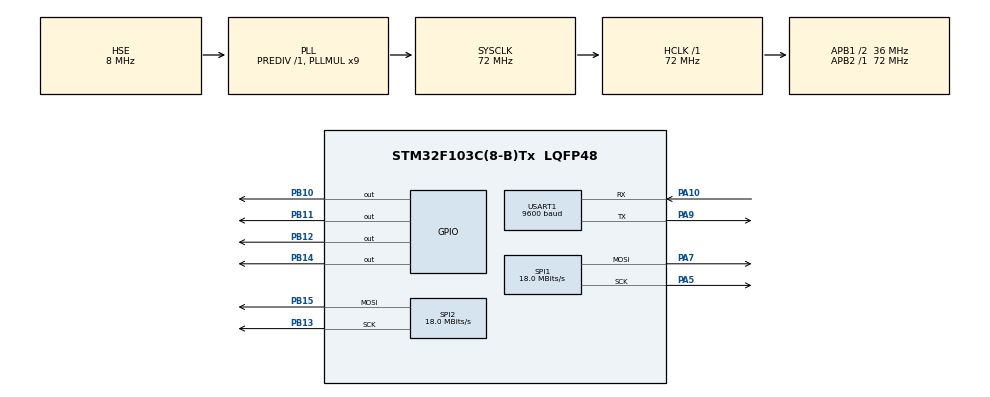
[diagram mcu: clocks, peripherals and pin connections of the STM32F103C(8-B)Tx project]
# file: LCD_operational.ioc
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Mcu.Family=STM32F1
Mcu.Name=STM32F103C(8-B)Tx
Mcu.Package=LQFP48
NVIC.PriorityGroup=NVIC_PRIORITYGROUP_4
NVIC.USART1_IRQn=true\:0\:0\:false\:false\:true\:true\:true\:true
PA10.Mode=Asynchronous
PA10.Signal=USART1_RX
PA13.Mode=Serial_Wire
PA13.Signal=SYS_JTMS-SWDIO
PA14.Mode=Serial_Wire
PA14.Signal=SYS_JTCK-SWCLK
PA5.Mode=TX_Only_Simplex_Unidirect_Master
PA5.Signal=SPI1_SCK
PA7.Mode=TX_Only_Simplex_Unidirect_Master
PA7.Signal=SPI1_MOSI
PA9.Mode=Asynchronous
PA9.Signal=USART1_TX
PB10.Signal=GPIO_Output
PB11.Signal=GPIO_Output
PB12.Signal=GPIO_Output
PB13.Mode=TX_Only_Simplex_Unidirect_Master
PB13.Signal=SPI2_SCK
PB14.Signal=GPIO_Output
PB15.Mode=TX_Only_Simplex_Unidirect_Master
PB15.Signal=SPI2_MOSI
PD0-OSC_IN.Mode=HSE-External-Oscillator
PD0-OSC_IN.Signal=RCC_OSC_IN
PD1-OSC_OUT.Mode=HSE-External-Oscillator
PD1-OSC_OUT.Signal=RCC_OSC_OUT
ProjectManager.HeapSize=0x200
ProjectManager.StackSize=0x400
ProjectManager.TargetToolchain=MDK-ARM V5.32
RCC.AHBFreq_Value=72000000
RCC.APB1CLKDivider=RCC_HCLK_DIV2
RCC.APB1Freq_Value=36000000
RCC.APB1TimFreq_Value=72000000
RCC.APB2Freq_Value=72000000
RCC.APB2TimFreq_Value=72000000
RCC.HCLKFreq_Value=72000000
RCC.PLLMUL=RCC_PLL_MUL9
RCC.PLLSourceVirtual=RCC_PLLSOURCE_HSE
RCC.SYSCLKFreq_VALUE=72000000
RCC.SYSCLKSource=RCC_SYSCLKSOURCE_PLLCLK
RCC.USBFreq_Value=72000000
SPI1.BaudRatePrescaler=SPI_BAUDRATEPRESCALER_4
SPI1.CalculateBaudRate=18.0 MBits/s
SPI1.Direction=SPI_DIRECTION_2LINES
SPI1.Mode=SPI_MODE_MASTER
SPI1.VirtualType=VM_MASTER
SPI2.CalculateBaudRate=18.0 MBits/s
SPI2.Direction=SPI_DIRECTION_2LINES
SPI2.Mode=SPI_MODE_MASTER
SPI2.VirtualType=VM_MASTER
USART1.BaudRate=9600
USART1.VirtualMode=VM_ASYNC
board=custom

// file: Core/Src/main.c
/* USER CODE BEGIN Header */
/**
  ******************************************************************************
  * @file           : main.c
  * @brief          : Main program body
  ******************************************************************************
  * @attention
  *
  * Copyright (c) 2023 STMicroelectronics.
  * All rights reserved.
  *
  * This software is licensed under terms that can be found in the LICENSE file
  * in the root directory of this software component.
  * If no LICENSE file comes with this software, it is provided AS-IS.
  *
  ******************************************************************************
  */
/* USER CODE END Header */
#include "main.h"
#include "spi.h"
#include "usart.h"
#include "gpio.h"

/* USER CODE BEGIN Includes */
#include "Lcd.h"
#include "Gui.h"
#include "menu.h"
#include "string.h"
#include "stdlib.h"
/* USER CODE END Includes */

/* USER CODE BEGIN PV */
extern const unsigned char gImage_qq[3200];
uint8_t remote[7];
/* USER CODE END PV */

void SystemClock_Config(void);

int main(void)
{

  /* MCU Configuration--------------------------------------------------------*/

  /* Reset of all peripherals, Initializes the Flash interface and the Systick. */
  HAL_Init();

  /* Configure the system clock */
  SystemClock_Config();

  /* Initialize all configured peripherals */
  MX_GPIO_Init();
  MX_SPI2_Init();
  MX_USART1_UART_Init();
  MX_SPI1_Init();
  /* USER CODE BEGIN 2 */
  uint8_t i;
	float fl111=0;

	LCD_Init();

	uint16_t count=0;
	HAL_Delay(1000);
	LCD_Clear(LIGHTBLUE);

	Gui_Drawbmp16(45,105,gImage_qq);
	HAL_UART_Receive_IT(&huart1,remote,7);
  /* USER CODE END 2 */

  /* Infinite loop */
  /* USER CODE BEGIN WHILE */
  while (1)
  {

//		  LCD_ShowNum(14,26,27,3,16);
//			LCD_ShowfloatNum(14,80,fl111,3,12);
//
//		  LCD_ShowfloatNum(14,46,fl111,16,12);

	  menu2=menu1();

		if(menu2==0)
		{
			while(1)
			{
			menu3=menu_PID();
			if(menu3==0) PPP() ;
			else if(menu3==1) III();
			else if(menu3==2) DDD();
			else if(menu3==10) break;
			}

		}
		else if(menu2==1)
		{

		}
		else if(menu2==2)
		{
			menu3=menu_Settings();
		}
		else if(menu2==3)
		{

		}
    /* USER CODE END WHILE */

  }
}

void SystemClock_Config(void)
{
  RCC_OscInitTypeDef RCC_OscInitStruct = {0};
  RCC_ClkInitTypeDef RCC_ClkInitStruct = {0};

  /** Initializes the RCC Oscillators according to the specified parameters
  * in the RCC_OscInitTypeDef structure.
  */
  RCC_OscInitStruct.OscillatorType = RCC_OSCILLATORTYPE_HSE;
  RCC_OscInitStruct.HSEState = RCC_HSE_ON;
  RCC_OscInitStruct.HSEPredivValue = RCC_HSE_PREDIV_DIV1;
  RCC_OscInitStruct.HSIState = RCC_HSI_ON;
  RCC_OscInitStruct.PLL.PLLState = RCC_PLL_ON;
  RCC_OscInitStruct.PLL.PLLSource = RCC_PLLSOURCE_HSE;
  RCC_OscInitStruct.PLL.PLLMUL = RCC_PLL_MUL9;
  if (HAL_RCC_OscConfig(&RCC_OscInitStruct) != HAL_OK)
  {
    Error_Handler();
  }

  /** Initializes the CPU, AHB and APB buses clocks
  */
  RCC_ClkInitStruct.ClockType = RCC_CLOCKTYPE_HCLK|RCC_CLOCKTYPE_SYSCLK
                              |RCC_CLOCKTYPE_PCLK1|RCC_CLOCKTYPE_PCLK2;
  RCC_ClkInitStruct.SYSCLKSource = RCC_SYSCLKSOURCE_PLLCLK;
  RCC_ClkInitStruct.AHBCLKDivider = RCC_SYSCLK_DIV1;
  RCC_ClkInitStruct.APB1CLKDivider = RCC_HCLK_DIV2;
  RCC_ClkInitStruct.APB2CLKDivider = RCC_HCLK_DIV1;

  if (HAL_RCC_ClockConfig(&RCC_ClkInitStruct, FLASH_LATENCY_2) != HAL_OK)
  {
    Error_Handler();
  }
}

void Error_Handler(void)
{
  __disable_irq();
  while (1)
  {
  }
}
